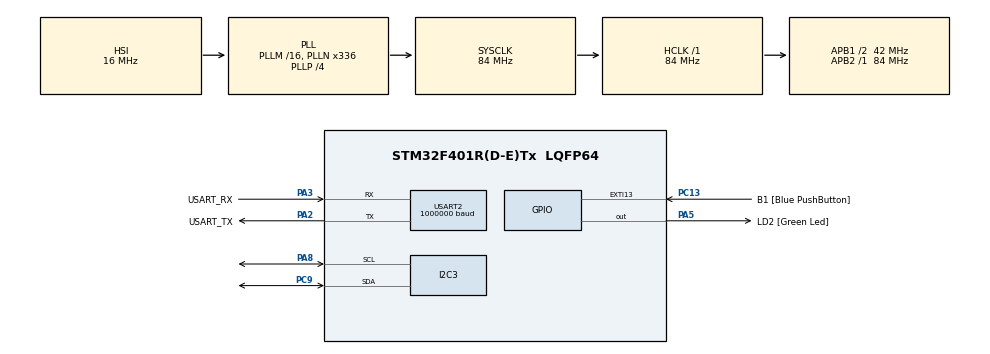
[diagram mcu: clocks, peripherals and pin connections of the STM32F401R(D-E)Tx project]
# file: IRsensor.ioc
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I2C3.I2C_Mode=I2C_Fast
Mcu.Family=STM32F4
Mcu.Name=STM32F401R(D-E)Tx
Mcu.Package=LQFP64
NVIC.PriorityGroup=NVIC_PRIORITYGROUP_4
PA13.GPIO_Label=TMS
PA13.Mode=Trace_Asynchronous_SW
PA13.Signal=SYS_JTMS-SWDIO
PA14.GPIO_Label=TCK
PA14.Mode=Trace_Asynchronous_SW
PA14.Signal=SYS_JTCK-SWCLK
PA2.GPIO_Label=USART_TX
PA2.GPIO_Mode=GPIO_MODE_AF_PP
PA2.GPIO_PuPd=GPIO_NOPULL
PA2.GPIO_Speed=GPIO_SPEED_FREQ_LOW
PA2.Mode=Asynchronous
PA2.Signal=USART2_TX
PA3.GPIO_Label=USART_RX
PA3.GPIO_Mode=GPIO_MODE_AF_PP
PA3.GPIO_PuPd=GPIO_NOPULL
PA3.GPIO_Speed=GPIO_SPEED_FREQ_LOW
PA3.Mode=Asynchronous
PA3.Signal=USART2_RX
PA5.GPIO_Label=LD2 [Green Led]
PA5.GPIO_Mode=GPIO_MODE_OUTPUT_PP
PA5.GPIO_PuPd=GPIO_NOPULL
PA5.GPIO_Speed=GPIO_SPEED_FREQ_LOW
PA5.Signal=GPIO_Output
PA8.Mode=I2C
PA8.Signal=I2C3_SCL
PB3.GPIO_Label=SWO
PB3.Mode=Trace_Asynchronous_SW
PB3.Signal=SYS_JTDO-SWO
PC13-ANTI_TAMP.GPIO_Label=B1 [Blue PushButton]
PC13-ANTI_TAMP.GPIO_ModeDefaultEXTI=GPIO_MODE_IT_FALLING
PC13-ANTI_TAMP.GPIO_PuPd=GPIO_NOPULL
PC13-ANTI_TAMP.Signal=GPXTI13
PC14-OSC32_IN.Mode=LSE-External-Oscillator
PC14-OSC32_IN.Signal=RCC_OSC32_IN
PC15-OSC32_OUT.Mode=LSE-External-Oscillator
PC15-OSC32_OUT.Signal=RCC_OSC32_OUT
PC9.Mode=I2C
PC9.Signal=I2C3_SDA
PH0\ -\ OSC_IN.Mode=HSE-External-Clock-Source
PH0\ -\ OSC_IN.Signal=RCC_OSC_IN
PH1\ -\ OSC_OUT.Mode=HSE-External-Clock-Source
PH1\ -\ OSC_OUT.Signal=RCC_OSC_OUT
ProjectManager.HeapSize=0x200
ProjectManager.StackSize=0x400
ProjectManager.TargetToolchain=Makefile
RCC.48MHZClocksFreq_Value=48000000
RCC.AHBFreq_Value=84000000
RCC.APB1CLKDivider=RCC_HCLK_DIV2
RCC.APB1Freq_Value=42000000
RCC.APB1TimFreq_Value=84000000
RCC.APB2Freq_Value=84000000
RCC.APB2TimFreq_Value=84000000
RCC.CortexFreq_Value=84000000
RCC.HCLKFreq_Value=84000000
RCC.HSE_VALUE=8000000
RCC.HSI_VALUE=16000000
RCC.PLLN=336
RCC.PLLP=RCC_PLLP_DIV4
RCC.PLLQ=7
RCC.SYSCLKFreq_VALUE=84000000
RCC.SYSCLKSource=RCC_SYSCLKSOURCE_PLLCLK
RCC.VCOOutputFreq_Value=336000000
USART2.BaudRate=1000000
USART2.VirtualMode=VM_ASYNC
board=NUCLEO-F401RE

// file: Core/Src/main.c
/* USER CODE BEGIN Header */
/**
  ******************************************************************************
  * @file           : main.c
  * @brief          : Main program body
  ******************************************************************************
  * @attention
  *
  * Copyright (c) 2026 STMicroelectronics.
  * All rights reserved.
  *
  * This software is licensed under terms that can be found in the LICENSE file
  * in the root directory of this software component.
  * If no LICENSE file comes with this software, it is provided AS-IS.
  *
  ******************************************************************************
  */
/* USER CODE END Header */
#include "main.h"

/* USER CODE BEGIN Includes */
#include <stdio.h>
#include "MLX90640_API.h"
#include "MLX9064X_I2C_Driver.h"
/* USER CODE END Includes */

/* USER CODE BEGIN PM */
#define  FPS2HZ   0x02
#define  FPS4HZ   0x03
#define  FPS8HZ   0x04
#define  FPS16HZ  0x05
#define  FPS32HZ  0x06

#define  MLX90640_ADDR 0x33
#define	 RefreshRate FPS8HZ
#define  TA_SHIFT 8 //Default shift for MLX90640 in open air

static uint16_t eeMLX90640[832];
static float mlx90640To[768];
uint16_t frame[834];
float emissivity=0.95;
int status;
/* USER CODE END PM */

I2C_HandleTypeDef hi2c3;

UART_HandleTypeDef huart2;

void SystemClock_Config(void);
static void MX_GPIO_Init(void);
static void MX_I2C3_Init(void);
static void MX_USART2_UART_Init(void);

/* USER CODE BEGIN 0 */
int __io_putchar(int ch);
/* USER CODE END 0 */

int main(void)
{

  /* MCU Configuration--------------------------------------------------------*/

  /* Reset of all peripherals, Initializes the Flash interface and the Systick. */
  HAL_Init();

  /* Configure the system clock */
  SystemClock_Config();

  /* Initialize all configured peripherals */
  MX_GPIO_Init();
  MX_I2C3_Init();
  MX_USART2_UART_Init();
  /* USER CODE BEGIN 2 */
  HAL_Delay(80);
  if (HAL_I2C_IsDeviceReady(&hi2c3, MLX90640_ADDR << 1, 3, 100) != HAL_OK)
    printf("\r\nMLX90640 not found at 0x%02X (I2C err 0x%lX)\r\n", MLX90640_ADDR, HAL_I2C_GetError(&hi2c3));
  else
    printf("\r\nMLX90640 found at 0x%02X\r\n", MLX90640_ADDR);
  status = MLX90640_SetRefreshRate(MLX90640_ADDR, RefreshRate);
  if (status != 0) printf("SetRefreshRate error: %d\r\n", status);
  status = MLX90640_SetChessMode(MLX90640_ADDR);
  if (status != 0) printf("SetChessMode error: %d\r\n", status);
  uint16_t ctrl;
  if (MLX9064x_I2CRead(MLX90640_ADDR, 0x800D, 1, &ctrl) == 0)
  {
    printf("Control register: 0x%04X\r\n", ctrl);
    // subpage mode on (bit 0), subpage repeat off (bit 3) so subpages 0 and 1 alternate
    uint16_t want = (ctrl | 0x0001) & ~0x0008;
    if (want != ctrl) MLX9064x_I2CWrite(MLX90640_ADDR, 0x800D, want);
  }
  static paramsMLX90640 mlx90640;
  status = MLX90640_DumpEE(MLX90640_ADDR, eeMLX90640);
  if (status != 0) printf("\r\nload system parameters error with code:%d\r\n",status);
  status = MLX90640_ExtractParameters(eeMLX90640, &mlx90640);
  if (status != 0) printf("\r\nParameter extraction failed with error code:%d\r\n",status);
  /* USER CODE END 2 */

  /* Infinite loop */
  while (1)
  {

    /* USER CODE BEGIN 3 */
    // read subpages until both halves of the chessboard are filled in
    int ok = 1, got = 0, tries = 0;
    float Ta = 0;
    while (got != 0x3 && tries++ < 4)
    {
        int sp = MLX90640_GetFrameData(MLX90640_ADDR, frame);
        if (sp < 0) { printf("GetFrameData error: %d\r\n", sp); ok = 0; break; }
        Ta = MLX90640_GetTa(frame, &mlx90640);
        MLX90640_CalculateTo(frame, &mlx90640, emissivity, Ta - TA_SHIFT, mlx90640To);
        got |= 1 << sp;
    }
    if (ok && got != 0x3)
    {
        printf("Only got subpage mask %d (ctrl 0x%04X)\r\n", got, frame[832]);
        ok = 0;
    }

    // sanity check about once a second: Ta should be near room temp, Vdd near 3300 mV
    static int nFrames = 0;
    if (ok && ++nFrames % 4 == 0)
        printf("Ta=%d C  Vdd=%d mV\r\n", (int)Ta, (int)(MLX90640_GetVdd(frame, &mlx90640) * 1000));

    // only send complete frames (both subpages read successfully)
    if (ok)
    {
        HAL_UART_Transmit(&huart2, (uint8_t *)"FRAME", 5, HAL_MAX_DELAY);
        HAL_UART_Transmit(&huart2, (uint8_t *)mlx90640To, sizeof(mlx90640To), HAL_MAX_DELAY);
    }

  }
  /* USER CODE END 3 */
}

void SystemClock_Config(void)
{
  RCC_OscInitTypeDef RCC_OscInitStruct = {0};
  RCC_ClkInitTypeDef RCC_ClkInitStruct = {0};

  /** Configure the main internal regulator output voltage
  */
  __HAL_RCC_PWR_CLK_ENABLE();
  __HAL_PWR_VOLTAGESCALING_CONFIG(PWR_REGULATOR_VOLTAGE_SCALE2);

  /** Initializes the RCC Oscillators according to the specified parameters
  * in the RCC_OscInitTypeDef structure.
  */
  RCC_OscInitStruct.OscillatorType = RCC_OSCILLATORTYPE_HSI;
  RCC_OscInitStruct.HSIState = RCC_HSI_ON;
  RCC_OscInitStruct.HSICalibrationValue = RCC_HSICALIBRATION_DEFAULT;
  RCC_OscInitStruct.PLL.PLLState = RCC_PLL_ON;
  RCC_OscInitStruct.PLL.PLLSource = RCC_PLLSOURCE_HSI;
  RCC_OscInitStruct.PLL.PLLM = 16;
  RCC_OscInitStruct.PLL.PLLN = 336;
  RCC_OscInitStruct.PLL.PLLP = RCC_PLLP_DIV4;
  RCC_OscInitStruct.PLL.PLLQ = 7;
  if (HAL_RCC_OscConfig(&RCC_OscInitStruct) != HAL_OK)
  {
    Error_Handler();
  }

  /** Initializes the CPU, AHB and APB buses clocks
  */
  RCC_ClkInitStruct.ClockType = RCC_CLOCKTYPE_HCLK|RCC_CLOCKTYPE_SYSCLK
                              |RCC_CLOCKTYPE_PCLK1|RCC_CLOCKTYPE_PCLK2;
  RCC_ClkInitStruct.SYSCLKSource = RCC_SYSCLKSOURCE_PLLCLK;
  RCC_ClkInitStruct.AHBCLKDivider = RCC_SYSCLK_DIV1;
  RCC_ClkInitStruct.APB1CLKDivider = RCC_HCLK_DIV2;
  RCC_ClkInitStruct.APB2CLKDivider = RCC_HCLK_DIV1;

  if (HAL_RCC_ClockConfig(&RCC_ClkInitStruct, FLASH_LATENCY_2) != HAL_OK)
  {
    Error_Handler();
  }
}

static void MX_I2C3_Init(void)
{

  hi2c3.Instance = I2C3;
  hi2c3.Init.ClockSpeed = 400000;
  hi2c3.Init.DutyCycle = I2C_DUTYCYCLE_2;
  hi2c3.Init.OwnAddress1 = 0;
  hi2c3.Init.AddressingMode = I2C_ADDRESSINGMODE_7BIT;
  hi2c3.Init.DualAddressMode = I2C_DUALADDRESS_DISABLE;
  hi2c3.Init.OwnAddress2 = 0;
  hi2c3.Init.GeneralCallMode = I2C_GENERALCALL_DISABLE;
  hi2c3.Init.NoStretchMode = I2C_NOSTRETCH_DISABLE;
  if (HAL_I2C_Init(&hi2c3) != HAL_OK)
  {
    Error_Handler();
  }

}

static void MX_USART2_UART_Init(void)
{

  huart2.Instance = USART2;
  huart2.Init.BaudRate = 1000000;
  huart2.Init.WordLength = UART_WORDLENGTH_8B;
  huart2.Init.StopBits = UART_STOPBITS_1;
  huart2.Init.Parity = UART_PARITY_NONE;
  huart2.Init.Mode = UART_MODE_TX_RX;
  huart2.Init.HwFlowCtl = UART_HWCONTROL_NONE;
  huart2.Init.OverSampling = UART_OVERSAMPLING_16;
  if (HAL_UART_Init(&huart2) != HAL_OK)
  {
    Error_Handler();
  }

}

static void MX_GPIO_Init(void)
{
  GPIO_InitTypeDef GPIO_InitStruct = {0};

  /* GPIO Ports Clock Enable */
  __HAL_RCC_GPIOC_CLK_ENABLE();
  __HAL_RCC_GPIOH_CLK_ENABLE();
  __HAL_RCC_GPIOA_CLK_ENABLE();
  __HAL_RCC_GPIOB_CLK_ENABLE();

  /*Configure GPIO pin Output Level */
  HAL_GPIO_WritePin(LD2_GPIO_Port, LD2_Pin, GPIO_PIN_RESET);

  /*Configure GPIO pin : B1_Pin */
  GPIO_InitStruct.Pin = B1_Pin;
  GPIO_InitStruct.Mode = GPIO_MODE_IT_FALLING;
  GPIO_InitStruct.Pull = GPIO_NOPULL;
  HAL_GPIO_Init(B1_GPIO_Port, &GPIO_InitStruct);

  /*Configure GPIO pin : LD2_Pin */
  GPIO_InitStruct.Pin = LD2_Pin;
  GPIO_InitStruct.Mode = GPIO_MODE_OUTPUT_PP;
  GPIO_InitStruct.Pull = GPIO_NOPULL;
  GPIO_InitStruct.Speed = GPIO_SPEED_FREQ_LOW;
  HAL_GPIO_Init(LD2_GPIO_Port, &GPIO_InitStruct);

}

/* USER CODE BEGIN 4 */
int __io_putchar(int ch)
{
  HAL_UART_Transmit(&huart2, (uint8_t *)&ch, 1, HAL_MAX_DELAY);
  return ch;
}
/* USER CODE END 4 */

void Error_Handler(void)
{
  __disable_irq();
  while (1)
  {
  }
}
